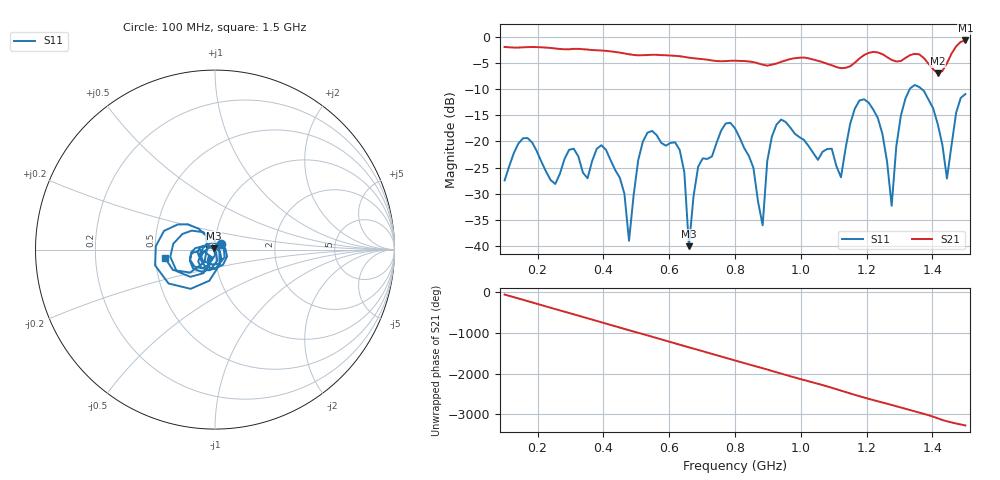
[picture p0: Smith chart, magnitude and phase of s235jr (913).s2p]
! NanoVNA-App
! Date: 2025-09-25 15:11:16
! Start: 100MHz Stop: 1,5GHz Points: 101
! S-Parameter data: F S11 S21 S12 S22
# Hz S RI R 50
!  Frequency  S11_Real  S11_Imag  S21_Real  S21_Imag  S12_Real  S12_Imag  S22_Real  S22_Imag
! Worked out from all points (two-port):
!   101 points, 100 MHz to 1.5 GHz, reference 50 ohm
!   highest |S21| = -0.73 dB at 1.5 GHz (marker M1); lowest = -7.0 dB at 1.416 GHz (marker M2)
!   |S21| within 3 dB of the highest: start of sweep to 630.4 MHz; 1.188 GHz to 1.257 GHz (69.84 MHz wide, 5.71 % of centre)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
!   lowest |S11| = -40.0 dB at 660 MHz (marker M3), VSWR 1.02, Z = 49.2 + j0.639 ohm
!   |S11| at or under -10 dB: start of sweep to 1.331 GHz; 1.367 GHz to end of sweep
!   S12 and S22 are empty: the file has one direction only
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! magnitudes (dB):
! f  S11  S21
! 100 MHz  -27.5  -2.0
! 156 MHz  -19.4  -2.0
! 338 MHz  -26.0  -2.4
! 408 MHz  -21.6  -2.7
! 478 MHz  -39.0  -3.4
! 520 MHz  -20.1  -3.5
! 576 MHz  -20.3  -3.5
! 632 MHz  -21.7  -3.7
! 660 MHz  -40.0  -4.0
! 688 MHz  -24.9  -4.2
! 800 MHz  -17.5  -4.6
! 884 MHz  -36.0  -5.3
! 926 MHz  -16.8  -5.1
! 1.038 GHz  -22.2  -4.4
! 1.122 GHz  -26.9  -6.0
! 1.192 GHz  -12.0  -3.5
! 1.248 GHz  -18.6  -3.3
! 1.276 GHz  -32.3  -4.4
! 1.332 GHz  -9.9  -3.5
! 1.416 GHz  -16.7  -7.0
! 1.444 GHz  -27.1  -5.1
! 1.5 GHz  -11.0  -0.7
